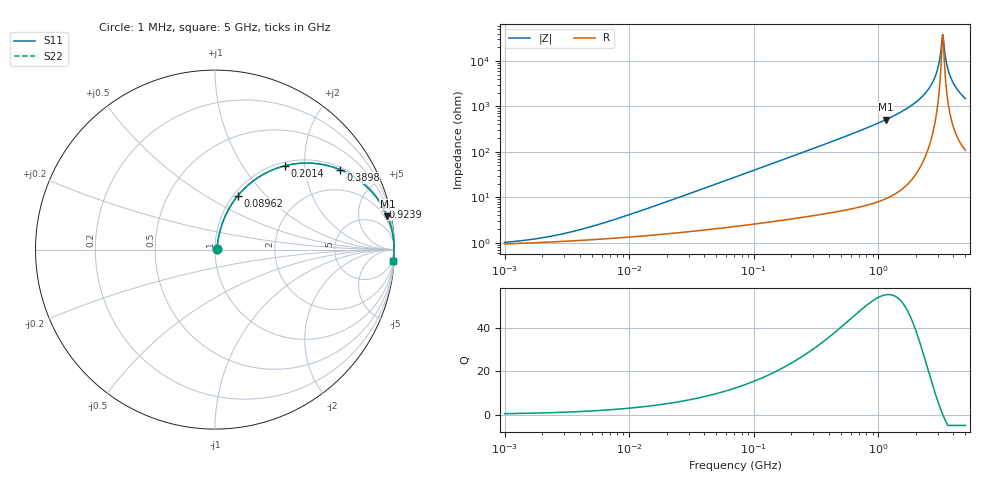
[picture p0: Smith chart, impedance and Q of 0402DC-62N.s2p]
# MHz  S  MA  R  50
!Freq  MagS11  AngS11  MagS21  AngS21  MagS12  AngS12  MagS22  AngS22
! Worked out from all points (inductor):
!   801 points, 1 MHz to 5 GHz, reference 50 ohm
!   read as one part in series: L = 62 nH near 10.31 MHz
!   highest Q = 55.1 at 1.156 GHz (marker M1), where L = 70.7 nH
!   self-resonance near 3.282 GHz
!   S11 on the Smith chart (normalised r, x): 1 MHz: 1.02, +0.01; 89.62 MHz: 1.05, +0.70; 201.4 MHz: 1.07, +1.57; 389.8 MHz: 1.09, +3.08; 923.9 MHz: 1.15, +7.81; 5 GHz: 3, -30
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1  0.01004 22.4  0.9907 -0.2  0.9907 -0.2  0.01004 22.4
4.168304  0.01951 54.4  0.9888 -0.9  0.9888 -0.9  0.01951 54.4
17.19065  0.06746 73.6  0.9831 -3.8  0.9831 -3.8  0.06746 73.6
70.89654  0.2617 70.2  0.944 -15.1  0.944 -15.1  0.2617 70.2
89.62093  0.3236 67.2  0.9238 -18.8  0.9238 -18.8  0.3236 67.2
201.3855  0.6067 50.3  0.7698 -37.3  0.7698 -37.3  0.6067 50.3
295.5183  0.7455 39.9  0.642 -48.2  0.642 -48.2  0.7455 39.9
389.8298  0.8281 32.5  0.5374 -55.9  0.5374 -55.9  0.8281 32.5
923.9036  0.9644 14.3  0.2468 -74.6  0.2468 -74.6  0.9644 14.3
1155.539  0.9782 11.0  0.1905 -78.0  0.1905 -78.0  0.9782 11.0
1218.757  0.9808 10.3  0.1782 -78.7  0.1782 -78.7  0.9808 10.3
1886.281  0.9937 5.2  0.0908 -83.4  0.0908 -83.4  0.9937 5.2
2488.267  0.997 2.5  0.04409 -84.8  0.04409 -84.8  0.997 2.5
2888.477  0.9975 1.2  0.02048 -82.5  0.02048 -82.5  0.9975 1.2
3046.503  0.9976 0.7  0.01226 -78.1  0.01226 -78.1  0.9976 0.7
3213.176  0.9975 0.2  0.004494 -55.8  0.004494 -55.8  0.9975 0.2
3282.371  0.9974 0.0  0.002603 -9.1  0.002603 -9.1  0.9974 0.0
3388.967  0.9973 -0.3  0.005278 59.4  0.005278 59.4  0.9973 -0.3
3612.657  0.997 -0.8  0.01479 77.9  0.01479 77.9  0.997 -0.8
3851.111  0.9965 -1.4  0.02471 81.2  0.02471 81.2  0.9965 -1.4
4329.904  0.9953 -2.5  0.04324 82.5  0.04324 82.5  0.9953 -2.5
5000  0.9929 -3.8  0.06675 82.0  0.06675 82.0  0.9929 -3.8
